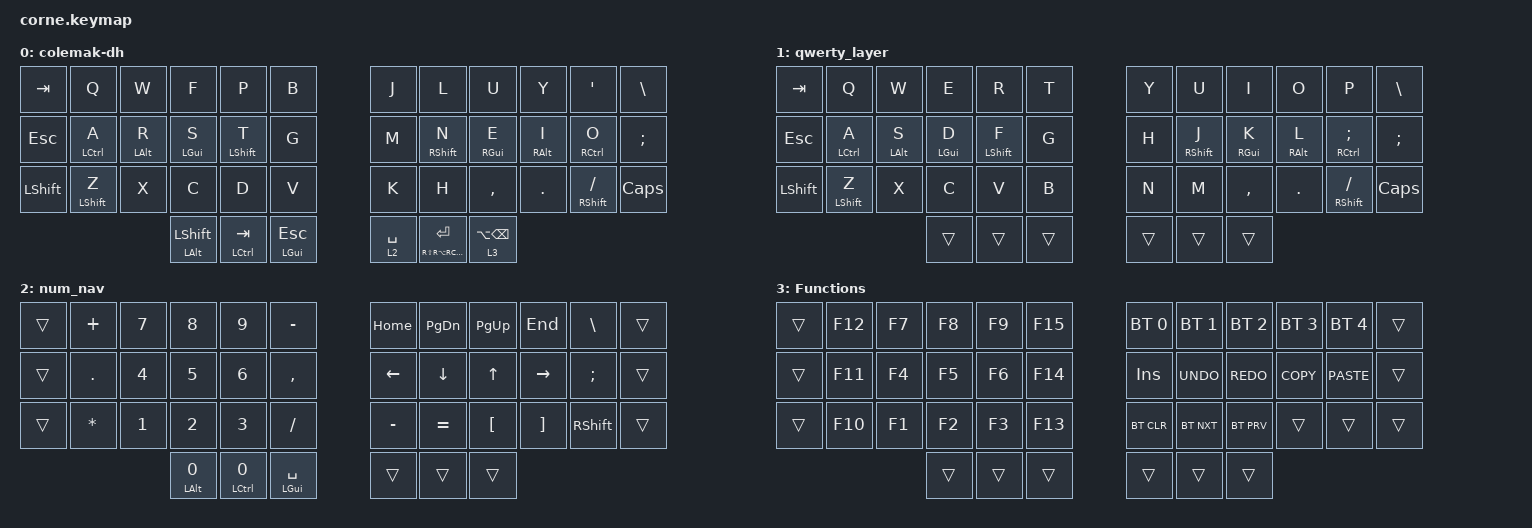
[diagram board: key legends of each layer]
/*
 * Copyright (c) 2020 The ZMK Contributors
 *
 * SPDX-License-Identifier: MIT
 */

#include <behaviors.dtsi>
#include <dt-bindings/zmk/bt.h>
#include <dt-bindings/zmk/keys.h>

&mt { require-prior-idle-ms = <125>; };

/ {
    combos {
        compatible = "zmk,combos";

        bsp {
            bindings = <&kp BACKSPACE>;
            key-positions = <21 22>;
            require-prior-idle-ms = <125>;
        };

        colon {
            bindings = <&kp COLON>;
            key-positions = <9 10>;
            require-prior-idle-ms = <125>;
        };

        semi {
            bindings = <&kp SEMI>;
            key-positions = <34 33>;
            require-prior-idle-ms = <125>;
        };

        bracket1 {
            bindings = <&kp LEFT_BRACKET>;
            key-positions = <19 20>;
            require-prior-idle-ms = <125>;
        };

        bracket2 {
            bindings = <&kp RIGHT_BRACKET>;
            key-positions = <21 20>;
            require-prior-idle-ms = <125>;
        };

        paren1 {
            bindings = <&kp LPAR>;
            key-positions = <7 8>;
            require-prior-idle-ms = <125>;
        };

        paren2 {
            bindings = <&kp RPAR>;
            key-positions = <8 9>;
            require-prior-idle-ms = <125>;
        };

        brace1 {
            bindings = <&kp LBRC>;
            key-positions = <31 32>;
            require-prior-idle-ms = <125>;
        };

        brace2 {
            bindings = <&kp RBRC>;
            key-positions = <33 32>;
            require-prior-idle-ms = <125>;
        };

        and {
            bindings = <&kp AMPERSAND>;
            key-positions = <7 10>;
            require-prior-idle-ms = <125>;
        };

        or {
            bindings = <&kp PIPE>;
            key-positions = <22 19>;
            require-prior-idle-ms = <125>;
        };

        mult {
            bindings = <&kp ASTRK>;
            key-positions = <31 34>;
            require-prior-idle-ms = <125>;
        };

        plus {
            bindings = <&kp PLUS>;
            key-positions = <7 9>;
            require-prior-idle-ms = <125>;
        };

        minus {
            bindings = <&kp MINUS>;
            key-positions = <21 19>;
            require-prior-idle-ms = <125>;
        };

        underscore {
            bindings = <&kp UNDER>;
            key-positions = <31 33>;
            require-prior-idle-ms = <125>;
        };

        dollar {
            bindings = <&kp DOLLAR>;
            key-positions = <4 2>;
            require-prior-idle-ms = <125>;
        };

        percent {
            bindings = <&kp PERCENT>;
            key-positions = <16 14>;
            require-prior-idle-ms = <125>;
        };

        caret {
            bindings = <&kp CARET>;
            key-positions = <28 26>;
            require-prior-idle-ms = <125>;
        };

        pound {
            bindings = <&kp POUND>;
            key-positions = <3 4>;
            require-prior-idle-ms = <125>;
        };

        equal {
            bindings = <&kp EQUAL>;
            key-positions = <16 15>;
            require-prior-idle-ms = <125>;
        };

        bslash {
            bindings = <&kp BACKSLASH>;
            key-positions = <27 28>;
            require-prior-idle-ms = <125>;
        };

        at {
            bindings = <&kp AT>;
            key-positions = <2 3>;
            require-prior-idle-ms = <125>;
        };

        tab {
            bindings = <&kp TAB>;
            key-positions = <14 15>;
            require-prior-idle-ms = <125>;
        };

        tilde {
            bindings = <&kp TILDE>;
            key-positions = <26 27>;
            require-prior-idle-ms = <125>;
        };

        exclamation {
            bindings = <&kp EXCL>;
            key-positions = <1 2>;
            require-prior-idle-ms = <125>;
        };

        del {
            bindings = <&kp DEL>;
            key-positions = <13 14>;
            require-prior-idle-ms = <125>;
        };

        btick {
            bindings = <&kp GRAVE>;
            key-positions = <26 25>;
            require-prior-idle-ms = <125>;
        };

        capslock {
            bindings = <&kp CAPS>;
            key-positions = <36 41>;
            require-prior-idle-ms = <125>;
        };

        capsword {
            bindings = <&caps_word>;
            key-positions = <25 34>;
        };

        alternate-layout {
            bindings = <&tog 1>;
            key-positions = <27 28 31 32>;
        };
    };

    behaviors {
        mt_sk: mt_sk {
            compatible = "zmk,behavior-hold-tap";
            label = "MT_SK";
            bindings = <&kp>, <&sk>;

            #binding-cells = <2>;
            tapping-term-ms = <200>;
        };

        hml: hml {
            compatible = "zmk,behavior-hold-tap";
            label = "HML";
            bindings = <&kp>, <&kp>;

            #binding-cells = <2>;
            tapping-term-ms = <280>;
            quick-tap-ms = <175>;
            require-prior-idle-ms = <150>;
            flavor = "balanced";
            hold-trigger-on-release;
            hold-trigger-key-positions = <36 37 38 39 40 41 6 7 8 9 10 11 18 19 20 21 22 23 30 31 32 33 34 35>;
        };

        hmr: hmr {
            compatible = "zmk,behavior-hold-tap";
            label = "HMR";
            bindings = <&kp>, <&kp>;

            #binding-cells = <2>;
            tapping-term-ms = <280>;
            quick-tap-ms = <175>;
            require-prior-idle-ms = <150>;
            flavor = "balanced";
            hold-trigger-on-release;
            hold-trigger-key-positions = <36 37 38 39 40 41 0 1 2 3 4 5 12 13 14 15 16 17 26 27 28 29 24 25 26>;
        };
    };

    keymap {
        compatible = "zmk,keymap";

        colemak-dh {
            bindings = <
&kp TAB    &kp Q         &kp W            &kp F              &kp P              &kp B                  &kp J        &kp L                       &kp U                &kp Y             &kp SQT          &kp BSLH
&kp ESC    &hml LCTRL A  &hml LEFT_ALT R  &hml LEFT_GUI S    &hml LEFT_SHIFT T  &kp G                  &kp M        &hmr RIGHT_SHIFT N          &hmr RIGHT_GUI E     &hmr RIGHT_ALT I  &hmr RCTRL O     &kp SEMI
&kp LSHFT  &hml LSHFT Z  &kp X            &kp C              &kp D              &kp V                  &kp K        &kp H                       &kp COMMA            &kp DOT           &hmr RSHFT FSLH  &kp CAPS
                                          &mt_sk LALT LSHFT  &mt LCTRL TAB      &mt LEFT_GUI ESCAPE    &lt 2 SPACE  &mt RS(RA(RC(RCMD))) ENTER  &lt 3 LA(BACKSPACE)
            >;
        };

        qwerty_layer {
            bindings = <
&kp TAB     &kp Q         &kp W            &kp E            &kp R              &kp T     &kp Y   &kp U               &kp I             &kp O             &kp P                 &kp BSLH
&kp ESC     &hml LCTRL A  &hml LEFT_ALT S  &hml LEFT_GUI D  &hml LEFT_SHIFT F  &kp G     &kp H   &hmr RIGHT_SHIFT J  &hmr RIGHT_GUI K  &hmr RIGHT_ALT L  &hmr RCTRL SEMICOLON  &kp SEMI
&kp LSHIFT  &mt LSHFT Z   &kp X            &kp C            &kp V              &kp B     &kp N   &kp M               &kp COMMA         &kp DOT           &mt RSHFT FSLH        &kp CAPS
                                           &trans           &trans             &trans    &trans  &trans              &trans
            >;
        };

        num_nav {
            bindings = <
&trans  &kp PLUS    &kp NUMBER_7  &kp NUMBER_8       &kp NUMBER_9        &kp MINUS         &kp HOME   &kp PG_DN  &kp PG_UP  &kp END    &kp BACKSLASH  &trans
&trans  &kp PERIOD  &kp NUMBER_4  &kp NUMBER_5       &kp NUMBER_6        &kp COMMA         &kp LEFT   &kp DOWN   &kp UP     &kp RIGHT  &kp SEMI       &trans
&trans  &kp ASTRK   &kp NUMBER_1  &kp NUMBER_2       &kp NUMBER_3        &kp SLASH         &kp MINUS  &kp EQUAL  &kp LBKT   &kp RBKT   &kp RSHFT      &trans
                                  &mt LALT NUMBER_0  &mt LCTRL NUMBER_0  &mt LGUI SPACE    &trans     &trans     &trans
            >;
        };

        Functions {
            bindings = <
&trans  &kp F12  &kp F7  &kp F8  &kp F9  &kp F15    &bt BT_SEL 0  &bt BT_SEL 1  &bt BT_SEL 2  &bt BT_SEL 3  &bt BT_SEL 4  &trans
&trans  &kp F11  &kp F4  &kp F5  &kp F6  &kp F14    &kp INS       &kp K_UNDO    &kp K_REDO    &kp K_COPY    &kp K_PASTE   &trans
&trans  &kp F10  &kp F1  &kp F2  &kp F3  &kp F13    &bt BT_CLR    &bt BT_NXT    &bt BT_PRV    &trans        &trans        &trans
                         &trans  &trans  &trans     &trans        &trans        &trans
            >;
        };
    };
};
